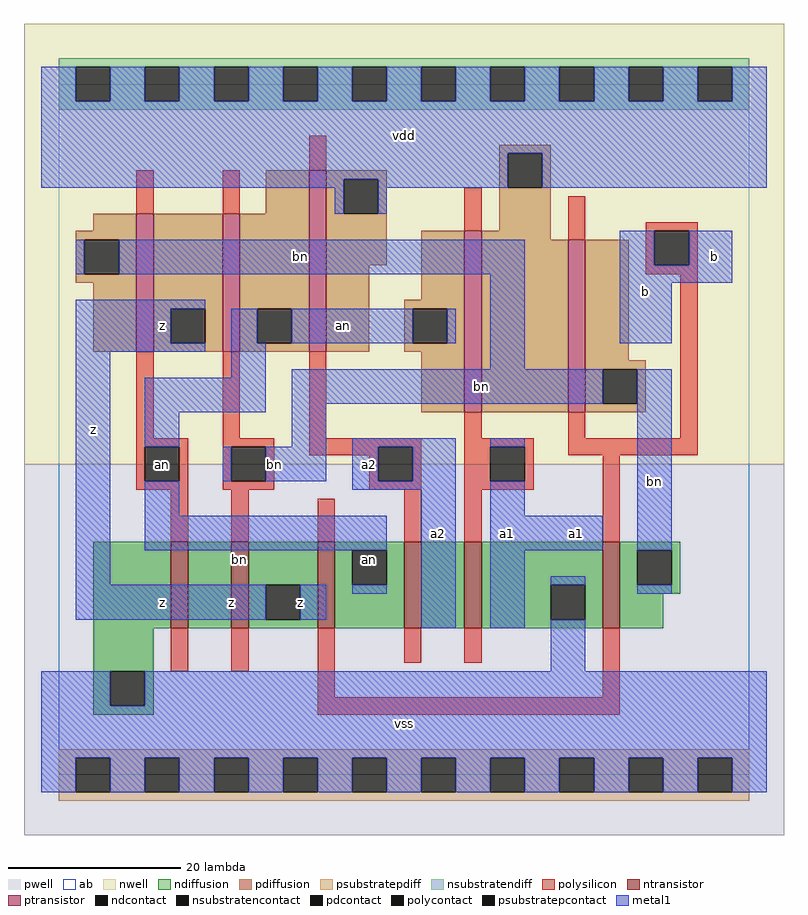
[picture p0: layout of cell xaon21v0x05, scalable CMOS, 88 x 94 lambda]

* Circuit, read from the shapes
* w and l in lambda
.subckt xaon21v0x05 a1 a2 an b bn vdd vss z
M1 n1 an vss vss nfet w=10 l=2
M2 z bn n1 vss nfet w=10 l=2
M3 an b z vss nfet w=10 l=2
M4 n2 a2 an vss nfet w=10 l=2
M5 vss a1 n2 vss nfet w=10 l=2
M6 bn b vss vss nfet w=10 l=2
M7 z an bn vdd pfet w=16 l=2
M8 an bn z vdd pfet w=16 l=2
M9 vdd a2 an vdd pfet w=21 l=2
M10 vdd a1 an vdd pfet w=21 l=2
M11 bn b vdd vdd pfet w=20 l=2
.ends

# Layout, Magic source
magic
tech scmos
<< ab >>
rect 0 0 80 80
<< pwell >>
rect -4 -7 84 36
<< nwell >>
rect -4 36 84 87
<< polysilicon >>
rect 29 70 31 74
rect 9 65 11 70
rect 19 65 21 70
rect 47 63 49 68
rect 9 39 11 49
rect 19 39 21 49
rect 29 39 31 49
rect 59 62 61 67
rect 68 63 74 64
rect 68 59 69 63
rect 73 59 74 63
rect 68 58 74 59
rect 47 39 49 42
rect 59 39 61 42
rect 72 39 74 58
rect 9 38 15 39
rect 9 34 10 38
rect 14 34 15 38
rect 9 33 15 34
rect 19 38 25 39
rect 19 34 20 38
rect 24 34 25 38
rect 29 38 42 39
rect 29 37 37 38
rect 19 33 25 34
rect 36 34 37 37
rect 41 34 42 38
rect 36 33 42 34
rect 13 27 15 33
rect 20 27 22 33
rect 30 27 32 32
rect 40 27 42 33
rect 47 38 55 39
rect 47 34 50 38
rect 54 34 55 38
rect 59 37 74 39
rect 47 33 55 34
rect 47 27 49 33
rect 63 27 65 37
rect 13 12 15 17
rect 20 12 22 17
rect 30 9 32 17
rect 40 13 42 17
rect 47 13 49 17
rect 63 9 65 17
rect 30 7 65 9
<< ndiffusion >>
rect 4 17 13 27
rect 15 17 20 27
rect 22 22 30 27
rect 22 18 24 22
rect 28 18 30 22
rect 22 17 30 18
rect 32 26 40 27
rect 32 22 34 26
rect 38 22 40 26
rect 32 17 40 22
rect 42 17 47 27
rect 49 22 63 27
rect 49 18 57 22
rect 61 18 63 22
rect 49 17 63 18
rect 65 26 72 27
rect 65 22 67 26
rect 71 22 72 26
rect 65 21 72 22
rect 65 17 70 21
rect 4 12 11 17
rect 4 8 6 12
rect 10 8 11 12
rect 4 7 11 8
<< pdiffusion >>
rect 51 72 57 73
rect 24 65 29 70
rect 4 63 9 65
rect 2 62 9 63
rect 2 58 3 62
rect 7 58 9 62
rect 2 57 9 58
rect 4 49 9 57
rect 11 54 19 65
rect 11 50 13 54
rect 17 50 19 54
rect 11 49 19 50
rect 21 54 29 65
rect 21 50 23 54
rect 27 50 29 54
rect 21 49 29 50
rect 31 69 38 70
rect 31 65 33 69
rect 37 65 38 69
rect 51 68 52 72
rect 56 68 57 72
rect 31 59 38 65
rect 51 63 57 68
rect 31 49 36 59
rect 42 55 47 63
rect 40 54 47 55
rect 40 50 41 54
rect 45 50 47 54
rect 40 49 47 50
rect 42 42 47 49
rect 49 62 57 63
rect 49 42 59 62
rect 61 48 66 62
rect 61 47 68 48
rect 61 43 63 47
rect 67 43 68 47
rect 61 42 68 43
<< metal1 >>
rect -2 78 2 82
rect 6 78 10 82
rect 14 78 18 82
rect 22 78 26 82
rect 30 78 34 82
rect 38 78 42 82
rect 46 78 50 82
rect 54 78 58 82
rect 62 78 66 82
rect 70 78 74 82
rect 78 78 82 82
rect -2 72 82 78
rect -2 69 52 72
rect -2 68 33 69
rect 32 65 33 68
rect 37 68 52 69
rect 56 68 82 72
rect 37 65 38 68
rect 2 58 3 62
rect 7 58 54 62
rect 2 54 17 55
rect 2 50 13 54
rect 2 49 17 50
rect 20 50 23 54
rect 27 50 41 54
rect 45 50 46 54
rect 2 22 6 49
rect 20 46 24 50
rect 50 47 54 58
rect 65 59 69 63
rect 73 59 78 63
rect 65 57 78 59
rect 65 50 71 57
rect 10 42 24 46
rect 27 43 63 47
rect 10 38 14 42
rect 27 38 31 43
rect 19 34 20 38
rect 24 34 31 38
rect 34 38 46 39
rect 34 34 37 38
rect 41 34 46 38
rect 10 30 14 34
rect 34 33 46 34
rect 10 26 38 30
rect 2 18 24 22
rect 28 18 31 22
rect 34 21 38 22
rect 42 17 46 33
rect 50 38 54 39
rect 50 30 54 34
rect 50 26 63 30
rect 67 26 71 47
rect 50 17 54 26
rect 57 22 61 23
rect 67 21 71 22
rect 57 12 61 18
rect -2 8 6 12
rect 10 8 82 12
rect -2 2 82 8
rect -2 -2 2 2
rect 6 -2 10 2
rect 14 -2 18 2
rect 22 -2 26 2
rect 30 -2 34 2
rect 38 -2 42 2
rect 46 -2 50 2
rect 54 -2 58 2
rect 62 -2 66 2
rect 70 -2 74 2
rect 78 -2 82 2
<< ntransistor >>
rect 13 17 15 27
rect 20 17 22 27
rect 30 17 32 27
rect 40 17 42 27
rect 47 17 49 27
rect 63 17 65 27
<< ptransistor >>
rect 9 49 11 65
rect 19 49 21 65
rect 29 49 31 70
rect 47 42 49 63
rect 59 42 61 62
<< polycontact >>
rect 69 59 73 63
rect 10 34 14 38
rect 20 34 24 38
rect 37 34 41 38
rect 50 34 54 38
<< ndcontact >>
rect 24 18 28 22
rect 34 22 38 26
rect 57 18 61 22
rect 67 22 71 26
rect 6 8 10 12
<< pdcontact >>
rect 3 58 7 62
rect 13 50 17 54
rect 23 50 27 54
rect 33 65 37 69
rect 52 68 56 72
rect 41 50 45 54
rect 63 43 67 47
<< psubstratepcontact >>
rect 2 -2 6 2
rect 10 -2 14 2
rect 18 -2 22 2
rect 26 -2 30 2
rect 34 -2 38 2
rect 42 -2 46 2
rect 50 -2 54 2
rect 58 -2 62 2
rect 66 -2 70 2
rect 74 -2 78 2
<< nsubstratencontact >>
rect 2 78 6 82
rect 10 78 14 82
rect 18 78 22 82
rect 26 78 30 82
rect 34 78 38 82
rect 42 78 46 82
rect 50 78 54 82
rect 58 78 62 82
rect 66 78 70 82
rect 74 78 78 82
<< psubstratepdiff >>
rect 0 2 80 3
rect 0 -2 2 2
rect 6 -2 10 2
rect 14 -2 18 2
rect 22 -2 26 2
rect 30 -2 34 2
rect 38 -2 42 2
rect 46 -2 50 2
rect 54 -2 58 2
rect 62 -2 66 2
rect 70 -2 74 2
rect 78 -2 80 2
rect 0 -3 80 -2
<< nsubstratendiff >>
rect 0 82 80 83
rect 0 78 2 82
rect 6 78 10 82
rect 14 78 18 82
rect 22 78 26 82
rect 30 78 34 82
rect 38 78 42 82
rect 46 78 50 82
rect 54 78 58 82
rect 62 78 66 82
rect 70 78 74 82
rect 78 78 80 82
rect 0 77 80 78
<< labels >>
rlabel ntransistor 21 25 21 25 6 bn
rlabel polycontact 12 36 12 36 6 an
rlabel metal1 4 40 4 40 6 z
rlabel metal1 12 20 12 20 6 z
rlabel metal1 20 20 20 20 6 z
rlabel metal1 28 20 28 20 6 z
rlabel polycontact 12 36 12 36 6 an
rlabel metal1 12 52 12 52 6 z
rlabel metal1 40 6 40 6 6 vss
rlabel ndcontact 36 25 36 25 6 an
rlabel metal1 44 28 44 28 6 a2
rlabel metal1 25 36 25 36 6 bn
rlabel metal1 36 36 36 36 6 a2
rlabel metal1 33 52 33 52 6 an
rlabel metal1 40 74 40 74 6 vdd
rlabel metal1 52 28 52 28 6 a1
rlabel metal1 60 28 60 28 6 a1
rlabel metal1 28 60 28 60 6 bn
rlabel metal1 69 34 69 34 6 bn
rlabel metal1 49 45 49 45 6 bn
rlabel metal1 68 56 68 56 6 b
rlabel metal1 76 60 76 60 6 b
<< end >>
